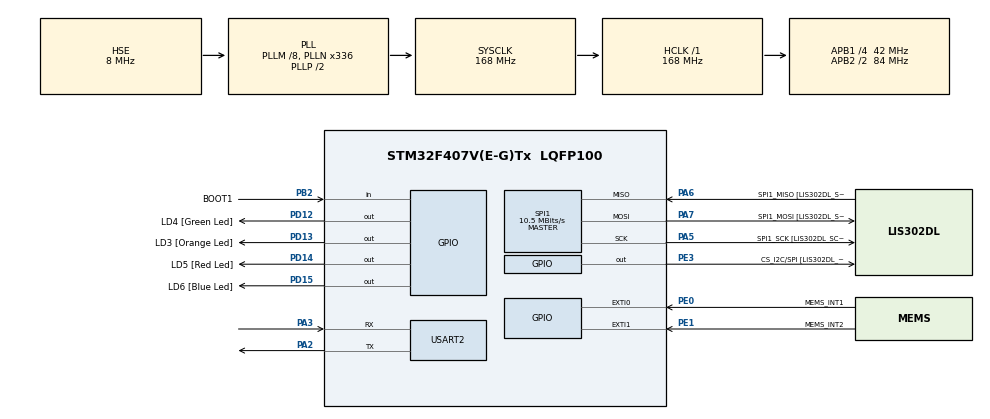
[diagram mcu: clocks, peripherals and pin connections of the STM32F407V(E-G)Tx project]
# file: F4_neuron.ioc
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Mcu.Family=STM32F4
VP_STMicroelectronics.X-CUBE-AI_VS_ArtificialOoIntelligenceJjXAaCUBEAaAI_6.0.0.Mode=ArtificialOoIntelligenceJjXAaCUBEAaAI
PD12.GPIO_Label=LD4 [Green Led]
PA6.Mode=Full_Duplex_Master
PH0-OSC_IN.Signal=RCC_OSC_IN
RCC.CortexFreq_Value=168000000
STMicroelectronics.X-CUBE-AI.6.0.0.MaximumSizeOfInputLayer=AI_NETWORK_IN_1_SIZE_BYTES
Dma.USART2_TX.0.PeriphDataAlignment=DMA_PDATAALIGN_BYTE
SPI1.VirtualType=VM_MASTER
PD15.GPIO_Speed=GPIO_SPEED_FREQ_LOW
PA14.GPIO_Label=SWCLK
STMicroelectronics.X-CUBE-AI.6.0.0.ModelMacc-130b04ba2d420755cb71b79059603c011c966bd5731be15100ae6a8b22d1bbc8=2808
PA7.GPIO_Mode=GPIO_MODE_AF_PP
PA6.GPIO_Label=SPI1_MISO [LIS302DL_SDO]
STMicroelectronics.X-CUBE-AI.6.0.0.StackSize=0x2000
Dma.USART2_TX.0.FIFOMode=DMA_FIFOMODE_DISABLE
RCC.SYSCLKSource=RCC_SYSCLKSOURCE_PLLCLK
ProjectManager.StackSize=0x2000
PA6.GPIO_Mode=GPIO_MODE_AF_PP
PD13.Signal=GPIO_Output
PD14.GPIO_Speed=GPIO_SPEED_FREQ_LOW
Dma.USART2_TX.0.Priority=DMA_PRIORITY_LOW
NVIC.EXTI1_IRQn=true\:0\:0\:false\:false\:true\:true\:true
SPI1.Direction=SPI_DIRECTION_2LINES
RCC.HCLKFreq_Value=168000000
RCC.APB2TimFreq_Value=168000000
STMicroelectronics.X-CUBE-AI.6.0.0.ModelType-130b04ba2d420755cb71b79059603c011c966bd5731be15100ae6a8b22d1bbc8=Saved model
SPI1.CalculateBaudRate=10.5 MBits/s
STMicroelectronics.X-CUBE-AI.6.0.0.ModelStructureFile-130b04ba2d420755cb71b79059603c011c966bd5731be15100ae6a8b22d1bbc8=C\:\\Users\\u\\PycharmProjects\\acc_neuron\\h5\\model.h5
PE1.Signal=GPXTI1
RCC.AHBFreq_Value=168000000
PH0-OSC_IN.Mode=HSE-External-Oscillator
PH0-OSC_IN.GPIO_Label=PH0-OSC_IN
RCC.HSE_VALUE=8000000
PB2.Signal=GPIO_Input
PA6.GPIO_PuPd=GPIO_NOPULL
PA14.Mode=Serial_Wire
STMicroelectronics.X-CUBE-AI.6.0.0.XAaCUBEAaAICcArtificialOoIntelligenceJjCore=true
PA5.GPIO_PuPd=GPIO_NOPULL
PD14.GPIO_PuPd=GPIO_NOPULL
Dma.USART2_TX.0.MemDataAlignment=DMA_MDATAALIGN_BYTE
Dma.USART2_TX.0.Direction=DMA_MEMORY_TO_PERIPH
Dma.USART2_TX.0.Instance=DMA1_Stream6
PB2.GPIO_PuPd=GPIO_NOPULL
PH1-OSC_OUT.Mode=HSE-External-Oscillator
PD13.GPIO_Label=LD3 [Orange Led]
Mcu.Package=LQFP100
PA6.Signal=SPI1_MISO
USART2.VirtualMode=VM_ASYNC
PD12.Signal=GPIO_Output
PD15.GPIO_PuPd=GPIO_NOPULL
PE0.GPIO_Label=MEMS_INT1
STMicroelectronics.X-CUBE-AI.6.0.0.LatestDirectoryUsed-130b04ba2d420755cb71b79059603c011c966bd5731be15100ae6a8b22d1bbc8=C\:\\Users\\u\\PycharmProjects\\acc_neuron\\h5
STMicroelectronics.X-CUBE-AI.6.0.0.ModelCompression-130b04ba2d420755cb71b79059603c011c966bd5731be15100ae6a8b22d1bbc8=1
Dma.USART2_TX.0.Mode=DMA_NORMAL
RCC.APB2CLKDivider=RCC_HCLK_DIV2
RCC.APB1TimFreq_Value=84000000
PA6.GPIO_Speed=GPIO_SPEED_FREQ_LOW
NVIC.DMA1_Stream6_IRQn=true\:0\:0\:false\:false\:true\:false\:true
Dma.Request0=USART2_TX
SPI1.BaudRatePrescaler=SPI_BAUDRATEPRESCALER_8
PD15.Signal=GPIO_Output
STMicroelectronics.X-CUBE-AI.6.0.0.ModelKind-130b04ba2d420755cb71b79059603c011c966bd5731be15100ae6a8b22d1bbc8=KERAS
PA3.Signal=USART2_RX
PA5.Mode=Full_Duplex_Master
PB3.GPIO_Label=SWO
RCC.PLLSourceVirtual=RCC_PLLSOURCE_HSE
PD12.GPIO_Speed=GPIO_SPEED_FREQ_LOW
PD15.GPIO_Label=LD6 [Blue Led]
PA7.Mode=Full_Duplex_Master
Dma.USART2_TX.0.MemInc=DMA_MINC_ENABLE
STMicroelectronics.X-CUBE-AI.6.0.0.ModelActualCompression-130b04ba2d420755cb71b79059603c011c966bd5731be15100ae6a8b22d1bbc8=0.0
STMicroelectronics.X-CUBE-AI.6.0.0.MaximumSizeOfOutputLayer=AI_NETWORK_OUT_1_SIZE_BYTES
RCC.APB1CLKDivider=RCC_HCLK_DIV4
PA3.Mode=Asynchronous
PA13.Signal=SYS_JTMS-SWDIO
STMicroelectronics.X-CUBE-AI.6.0.0.ModelRamOccupation-130b04ba2d420755cb71b79059603c011c966bd5731be15100ae6a8b22d1bbc8=648
STMicroelectronics.X-CUBE-AI.6.0.0.ModelHashList=130b04ba2d420755cb71b79059603c011c966bd5731be15100ae6a8b22d1bbc8
ProjectManager.TargetToolchain=STM32CubeIDE
STMicroelectronics.X-CUBE-AI.6.0.0.InternalRamActivationBufferMaxSize=AI_NETWORK_DATA_ACTIVATIONS_SIZE
STMicroelectronics.X-CUBE-AI.6.0.0.WorkingBufferStartAddrList=0xFFFFFFFF
STMicroelectronics.X-CUBE-AI.6.0.0.ModelNameList=network
STMicroelectronics.X-CUBE-AI.6.0.0.MaximumNumberOfOutputLayer=1
RCC.LSE_VALUE=32768
PA7.GPIO_PuPd=GPIO_NOPULL
PA5.Signal=SPI1_SCK
board=STM32F407G-DISC1
PD13.GPIO_Speed=GPIO_SPEED_FREQ_LOW
RCC.VCOOutputFreq_Value=336000000
PE1.GPIO_Label=MEMS_INT2
PA7.GPIO_Speed=GPIO_SPEED_FREQ_LOW
RCC.APB2Freq_Value=84000000
PB2.GPIO_Mode=GPIO_MODE_INPUT
SPI1.Mode=SPI_MODE_MASTER
RCC.INSTRUCTION_CACHE_ENABLE=1
PE3.GPIO_PuPd=GPIO_NOPULL
PH1-OSC_OUT.Signal=RCC_OSC_OUT
PD13.GPIO_PuPd=GPIO_NOPULL
PD14.GPIO_Label=LD5 [Red Led]
PH1-OSC_OUT.GPIO_Label=PH1-OSC_OUT
PA13.Mode=Serial_Wire
PE0.Signal=GPXTI0
Mcu.Name=STM32F407V(E-G)Tx
PA2.Signal=USART2_TX
PA13.GPIO_Label=SWDIO
PD14.Signal=GPIO_Output
RCC.48MHZClocksFreq_Value=48000000
PB3.Signal=SYS_JTDO-SWO
NVIC.EXTI0_IRQn=true\:0\:0\:false\:false\:true\:true\:true
RCC.SYSCLKFreq_VALUE=168000000
PA7.GPIO_Label=SPI1_MOSI [LIS302DL_SDA/SDI/SDO]
Dma.USART2_TX.0.PeriphInc=DMA_PINC_DISABLE
PA5.GPIO_Label=SPI1_SCK [LIS302DL_SCL/SPC]
PE3.GPIO_Speed=GPIO_SPEED_FREQ_LOW
PA14.Signal=SYS_JTCK-SWCLK
STMicroelectronics.X-CUBE-AI.6.0.0.MaximumNumberOfInputLayer=1
PB2.GPIO_Label=BOOT1
ProjectManager.HeapSize=0x200
STMicroelectronics.X-CUBE-AI.6.0.0.HeapSize=0x200
STMicroelectronics.X-CUBE-AI.6.0.0.ModelName-130b04ba2d420755cb71b79059603c011c966bd5731be15100ae6a8b22d1bbc8=network
RCC.HSI_VALUE=16000000
PA5.GPIO_Speed=GPIO_SPEED_FREQ_LOW
RCC.PLLQ=7
NVIC.PriorityGroup=NVIC_PRIORITYGROUP_0
RCC.PLLM=8
RCC.PLLN=336
PE3.Signal=GPIO_Output
PA2.Mode=Asynchronous
PE3.GPIO_Label=CS_I2C/SPI [LIS302DL_CS_I2C/SPI]
RCC.APB1Freq_Value=42000000
PA5.GPIO_Mode=GPIO_MODE_AF_PP
VP_CRC_VS_CRC.Mode=CRC_Activate
STMicroelectronics.X-CUBE-AI.6.0.0.ModelFlashOccupation-130b04ba2d420755cb71b79059603c011c966bd5731be15100ae6a8b22d1bbc8=1576
STMicroelectronics.X-CUBE-AI.6.0.0.ActivationBufferSizeList=648
PD12.GPIO_PuPd=GPIO_NOPULL
PA7.Signal=SPI1_MOSI

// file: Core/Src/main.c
/* USER CODE BEGIN Header */
/**
 ******************************************************************************
 * @file           : main.c
 * @brief          : Main program body
 ******************************************************************************
 * @attention
 *
 * <h2><center>&copy; Copyright (c) 2021 STMicroelectronics.
 * All rights reserved.</center></h2>
 *
 * This software component is licensed by ST under Ultimate Liberty license
 * SLA0044, the "License"; You may not use this file except in compliance with
 * the License. You may obtain a copy of the License at:
 *                             www.st.com/SLA0044
 *
 ******************************************************************************
 */
/* USER CODE END Header */
#include "main.h"
#include "crc.h"
#include "dma.h"
#include "spi.h"
#include "usart.h"
#include "gpio.h"

/* USER CODE BEGIN Includes */
#include "ai_platform.h"
#include "network.h"
#include "network_data.h"
#include <stdio.h>
#include "lsm3.h"

ai_handle network;
float aiInData[AI_NETWORK_IN_1_SIZE];
float aiOutData[AI_NETWORK_OUT_1_SIZE];
uint8_t activations[AI_NETWORK_DATA_ACTIVATIONS_SIZE];
const char *activities[AI_NETWORK_OUT_1_SIZE] =
    {
    "stable", "walk", "run", "shake"
    };
static void AI_Init(ai_handle w_addr, ai_handle act_addr);
static void AI_Run(float *pIn, float *pOut);
static uint32_t argmax(const float *values, uint32_t len);
/* USER CODE END Includes */

/* USER CODE BEGIN PTD */
LIS3DSH_DataRaw raw;
/* USER CODE END PTD */

/* USER CODE BEGIN PM */
int _write(int fd, char *ptr, int len)
    {
    HAL_UART_Transmit(&huart2, (uint8_t*) ptr, len, HAL_MAX_DELAY);
    return len;
    }

static void AI_Init(ai_handle w_addr, ai_handle act_addr)
    {
    ai_error err;

    /* 1 - Create an instance of the model */
    err = ai_network_create(&network, AI_NETWORK_DATA_CONFIG);
    if (err.type != AI_ERROR_NONE)
	{
	printf("ai_network_create error - type=%d code=%d\r\n", err.type,
		err.code);
	Error_Handler();
	}

    /* 2 - Initialize the instance */
    const ai_network_params params =
	{
	AI_NETWORK_DATA_WEIGHTS(w_addr),
    AI_NETWORK_DATA_ACTIVATIONS(act_addr)
    }
    ;

    if (!ai_network_init(network, &params))
	{
	err = ai_network_get_error(network);
	printf("ai_network_init error - type=%d code=%d\r\n", err.type,
		err.code);
	Error_Handler();
	}
    }

static void AI_Run(float *pIn, float *pOut)
    {
    ai_i32 batch;
    ai_error err;

    /* 1 - Create the AI buffer IO handlers with the default definition */
    ai_buffer ai_input[AI_NETWORK_IN_NUM] = AI_NETWORK_IN
    ;
    ai_buffer ai_output[AI_NETWORK_OUT_NUM] = AI_NETWORK_OUT
    ;

    /* 2 - Update IO handlers with the data payload */
    ai_input[0].n_batches = 1;
    ai_input[0].data = AI_HANDLE_PTR(pIn);
    ai_output[0].n_batches = 1;
    ai_output[0].data = AI_HANDLE_PTR(pOut);

    batch = ai_network_run(network, ai_input, ai_output);
    if (batch != 1)
	{
	err = ai_network_get_error(network);
	printf("AI ai_network_run error - type=%d code=%d\r\n", err.type,
		err.code);
	Error_Handler();
	}
    }

static uint32_t argmax(const float *values, uint32_t len)
    {
    float max_value = values[0];
    uint32_t max_index = 0;
    for (uint32_t i = 1; i < len; i++)
	{
	if (values[i] > max_value)
	    {
	    max_value = values[i];
	    max_index = i;
	    }
	}
    return max_index;
    }

void make_data(float *in, float *out)
    {
    for (u16 i = AI_NETWORK_IN_1_SIZE; i >= 3; i--)
	{
	out[i] = out[i - 3];
	}
    for (u16 i = 0; i < 3; i++)
	{
	out[i] = in[i];
	}
    }
/* USER CODE END PM */

/* USER CODE BEGIN PV */
uint32_t write_index = 0;

void HAL_GPIO_EXTI_Callback(uint16_t GPIO_Pin)
    {
    static u8 start = 0;
    float in_buf[3];
    if (GPIO_Pin == GPIO_PIN_0)
	{
	LIS3DSH_GetDataRaw(&raw);
//	HAL_UART_Transmit(&huart2, (u8*) &raw, sizeof(raw), 0xFFFF);
//	printf("% 5d, % 5d, % 5d\r\n", raw.x, raw.y, raw.z);
	/* Note: window overlapping can be managed here */
	in_buf[0] = (float) raw.x / (1.7f * 4000.0f);
	in_buf[1] = (float) raw.y / (1.7f * 4000.0f);
	in_buf[2] = (float) raw.z / (1.7f * 4000.0f);
	make_data(in_buf, aiInData);
	write_index += 3;

	if (write_index == AI_NETWORK_IN_1_SIZE)
	    {
	    write_index = 0;

	    start = 1;
	    }
	if (start != 0)
	    {
//	    printf("Running inference\r\n");
	    AI_Run(aiInData, aiOutData);

	    /* Output results */
	    for (uint32_t i = 0; i < AI_NETWORK_OUT_1_SIZE; i++)
		{
		printf("%8.2f ", aiOutData[i]);
		}
//	    printf("\n");
	    uint32_t class = argmax(aiOutData, AI_NETWORK_OUT_1_SIZE);
	    printf(": %d - %s\n", (int) class, activities[class]);
	    }
	}
    }
/* USER CODE END PV */

void SystemClock_Config(void);

int main(void)
    {

    /* MCU Configuration--------------------------------------------------------*/

    /* Reset of all peripherals, Initializes the Flash interface and the Systick. */
    HAL_Init();

    /* Configure the system clock */
    SystemClock_Config();

    /* Initialize all configured peripherals */
    MX_GPIO_Init();
    MX_DMA_Init();
    MX_CRC_Init();
    MX_SPI1_Init();
    MX_USART2_UART_Init();
    /* USER CODE BEGIN 2 */
    HAL_Delay(200);
    AI_Init(ai_network_data_weights_get(), activations);
    LIS3DSH_init();
    /* USER CODE END 2 */

    /* Infinite loop */
    /* USER CODE BEGIN WHILE */
    while (1)
	{
	HAL_Delay(40);
//	LIS3DSH_GetDataRaw(&raw);
//	HAL_UART_Transmit(&huart2, (u8*) &raw, sizeof(raw), 0xFFFF);
	/* USER CODE END WHILE */

	}
    }

void SystemClock_Config(void)
    {
    RCC_OscInitTypeDef RCC_OscInitStruct =
	{
	0
	};
    RCC_ClkInitTypeDef RCC_ClkInitStruct =
	{
	0
	};

    /** Configure the main internal regulator output voltage
     */
    __HAL_RCC_PWR_CLK_ENABLE();
    __HAL_PWR_VOLTAGESCALING_CONFIG(PWR_REGULATOR_VOLTAGE_SCALE1);
    /** Initializes the RCC Oscillators according to the specified parameters
     * in the RCC_OscInitTypeDef structure.
     */
    RCC_OscInitStruct.OscillatorType = RCC_OSCILLATORTYPE_HSE;
    RCC_OscInitStruct.HSEState = RCC_HSE_ON;
    RCC_OscInitStruct.PLL.PLLState = RCC_PLL_ON;
    RCC_OscInitStruct.PLL.PLLSource = RCC_PLLSOURCE_HSE;
    RCC_OscInitStruct.PLL.PLLM = 8;
    RCC_OscInitStruct.PLL.PLLN = 336;
    RCC_OscInitStruct.PLL.PLLP = RCC_PLLP_DIV2;
    RCC_OscInitStruct.PLL.PLLQ = 7;
    if (HAL_RCC_OscConfig(&RCC_OscInitStruct) != HAL_OK)
	{
	Error_Handler();
	}
    /** Initializes the CPU, AHB and APB buses clocks
     */
    RCC_ClkInitStruct.ClockType = RCC_CLOCKTYPE_HCLK | RCC_CLOCKTYPE_SYSCLK
	    | RCC_CLOCKTYPE_PCLK1 | RCC_CLOCKTYPE_PCLK2;
    RCC_ClkInitStruct.SYSCLKSource = RCC_SYSCLKSOURCE_PLLCLK;
    RCC_ClkInitStruct.AHBCLKDivider = RCC_SYSCLK_DIV1;
    RCC_ClkInitStruct.APB1CLKDivider = RCC_HCLK_DIV4;
    RCC_ClkInitStruct.APB2CLKDivider = RCC_HCLK_DIV2;

    if (HAL_RCC_ClockConfig(&RCC_ClkInitStruct, FLASH_LATENCY_5) != HAL_OK)
	{
	Error_Handler();
	}
    }

void Error_Handler(void)
    {
    /* USER CODE BEGIN Error_Handler_Debug */
    while (1)
	{
	HAL_GPIO_TogglePin(LD4_GPIO_Port, LD4_Pin);
	HAL_Delay(50); /* wait 50 ms */
	}
    /* USER CODE END Error_Handler_Debug */
    }

/************************ (C) COPYRIGHT STMicroelectronics *****END OF FILE****/
